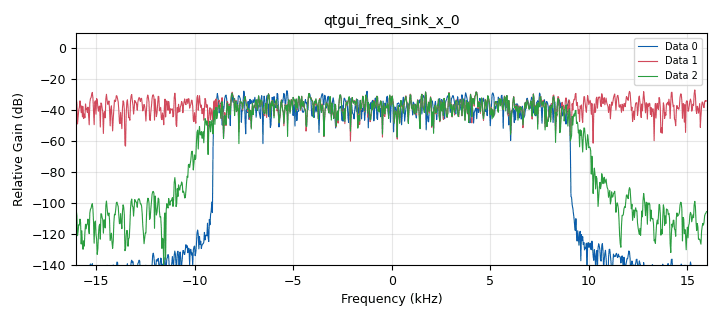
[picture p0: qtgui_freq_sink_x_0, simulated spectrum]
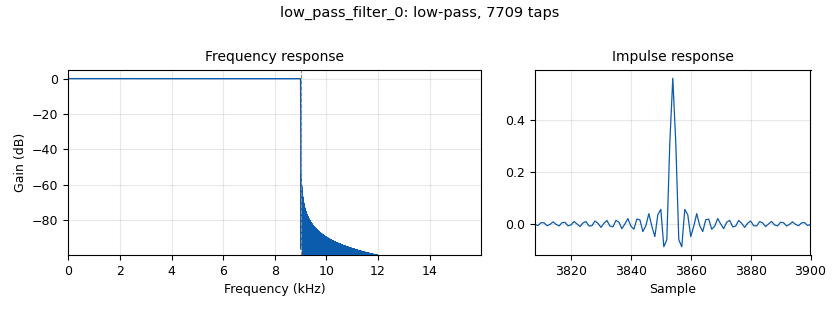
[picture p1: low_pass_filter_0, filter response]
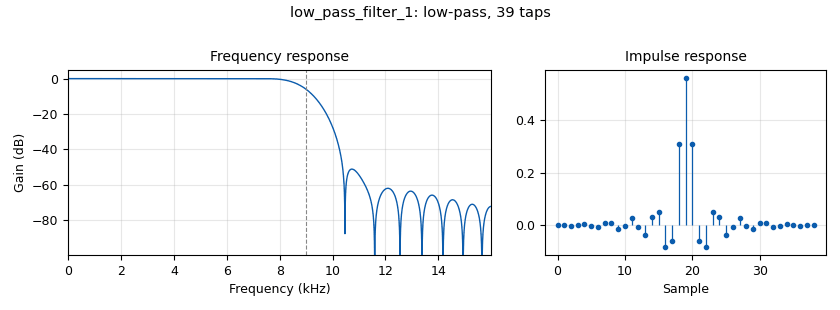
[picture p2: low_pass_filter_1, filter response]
options:
  parameters:
    author: vitor
    generate_options: qt_gui
    id: filtragem
    output_language: python
    title: Not titled yet
  states: {}

blocks:
- name: samp_rate
  id: variable
  parameters:
    value: '32000'
  states: {}
- name: analog_noise_source_x_0
  id: analog_noise_source_x
  parameters:
    amp: '1'
    noise_type: analog.GR_GAUSSIAN
    seed: '0'
    type: complex
  states: {}
- name: blocks_throttle2_0
  id: blocks_throttle2
  parameters:
    samples_per_second: samp_rate
    type: complex
  states: {}
- name: low_pass_filter_0
  id: low_pass_filter
  parameters:
    cutoff_freq: '9000'
    decim: '1'
    gain: '1'
    samp_rate: samp_rate
    type: fir_filter_ccf
    width: '10'
    win: window.WIN_HAMMING
  states: {}
- name: low_pass_filter_1
  id: low_pass_filter
  parameters:
    cutoff_freq: '9000'
    decim: '1'
    gain: '1'
    samp_rate: samp_rate
    type: fir_filter_ccf
    width: '2000'
    win: window.WIN_HAMMING
  states: {}
- name: qtgui_freq_sink_x_0
  id: qtgui_freq_sink_x
  parameters:
    bw: samp_rate
    fc: '0'
    fftsize: '1024'
    nconnections: '3'
    type: complex
    wintype: window.WIN_BLACKMAN
  states: {}
- name: qtgui_sink_x_0
  id: qtgui_sink_x
  parameters:
    bw: samp_rate
    fc: '0'
    fftsize: '1024'
    type: complex
  states: {state: disabled}

connections:
- [analog_noise_source_x_0, '0', blocks_throttle2_0, '0']
- [blocks_throttle2_0, '0', low_pass_filter_0, '0']
- [blocks_throttle2_0, '0', low_pass_filter_1, '0']
- [blocks_throttle2_0, '0', qtgui_freq_sink_x_0, '1']
- [low_pass_filter_0, '0', qtgui_freq_sink_x_0, '0']
- [low_pass_filter_0, '0', qtgui_sink_x_0, '0']
- [low_pass_filter_1, '0', qtgui_freq_sink_x_0, '2']

metadata:
  file_format: 1
  grc_version: 3.10.12.0
